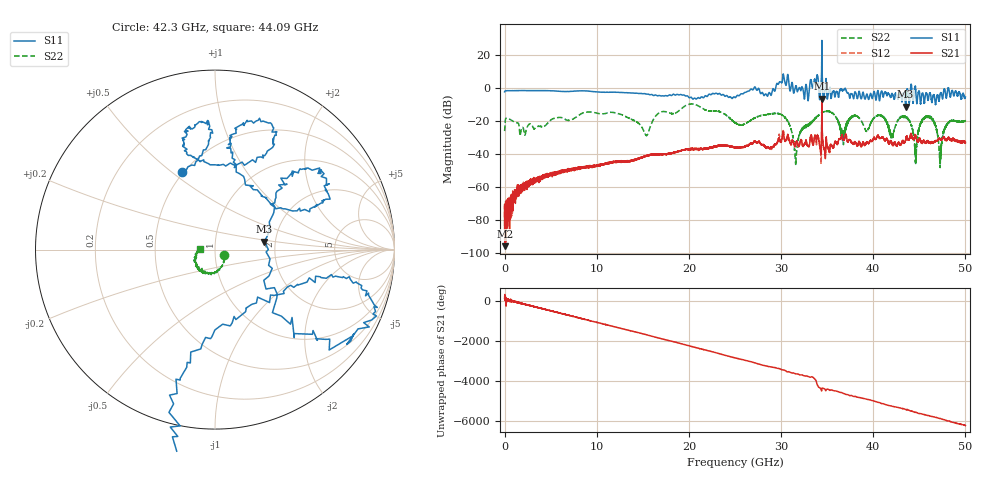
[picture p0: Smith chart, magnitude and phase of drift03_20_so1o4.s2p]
!Created with skrf (http://scikit-rf.org).
# Hz S RI R 50.0
!freq ReS11 ImS11 ReS21 ImS21 ReS12 ImS12 ReS22 ImS22
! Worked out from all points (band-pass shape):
!   10000 points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, 5.3 MHz to 50 GHz, reference 50 ohm
!   highest |S21| = -6.28 dB at 34.43 GHz (marker M1); lowest = -95.8 dB at 85.3 MHz (marker M2)
!   |S21| within 3 dB of the highest: 34.42746 GHz to 34.43453 GHz (7.076 MHz wide, 0.0206 % of centre)
!   lowest |S11| = -11.1 dB at 43.52 GHz (marker M3), VSWR 1.77, Z = 87.3 + j8.38 ohm
!   |S11| at or under -10 dB: 43.50315 GHz to 43.54112 GHz (37.97 MHz wide, 0.0872 % of centre)
!   |S22| runs from -48.1 to -9.4 dB; largest |S21 - S12| = 0.15
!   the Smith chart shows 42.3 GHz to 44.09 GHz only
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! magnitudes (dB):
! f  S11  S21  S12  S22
! 5.3 MHz  -2.1  -85.5  -83.3  -25.9
! 85.3 MHz  -1.5  -95.8  -83.1  -19.0
! 2.095 GHz  -1.3  -60.6  -60.4  -25.5
! 8.34 GHz  -1.5  -48.0  -48.4  -15.4
! 15.39 GHz  -3.5  -40.9  -40.8  -28.6
! 16.67 GHz  -4.4  -40.2  -40.2  -15.3
! 20.45 GHz  -6.5  -36.6  -36.7  -9.5
! 25.01 GHz  -5.5  -36.0  -36.0  -20.9
! 29.96 GHz  3.9  -32.7  -32.3  -15.8
! 31.6 GHz  1.5  -33.7  -34.0  -45.3
! 33.34 GHz  2.5  -30.4  -30.7  -20.2
! 34.43 GHz  29.1  -6.3  -8.0  -14.6
! 36.69 GHz  -1.4  -29.6  -29.8  -26.4
! 37.95 GHz  -3.8  -32.7  -32.6  -16.7
! 41.67 GHz  -3.2  -33.3  -33.3  -23.5
! 43.52 GHz  -11.1  -31.5  -31.6  -17.7
! 44.6 GHz  -0.7  -28.8  -28.8  -45.2
! 45.27 GHz  -3.9  -33.2  -33.1  -20.0
! 46.28 GHz  -5.6  -32.9  -32.7  -17.4
! 47.29 GHz  -3.1  -30.6  -30.7  -44.1
! 48.15 GHz  0.3  -29.9  -30.2  -20.6
! 50 GHz  -5.3  -32.9  -32.4  -19.7
